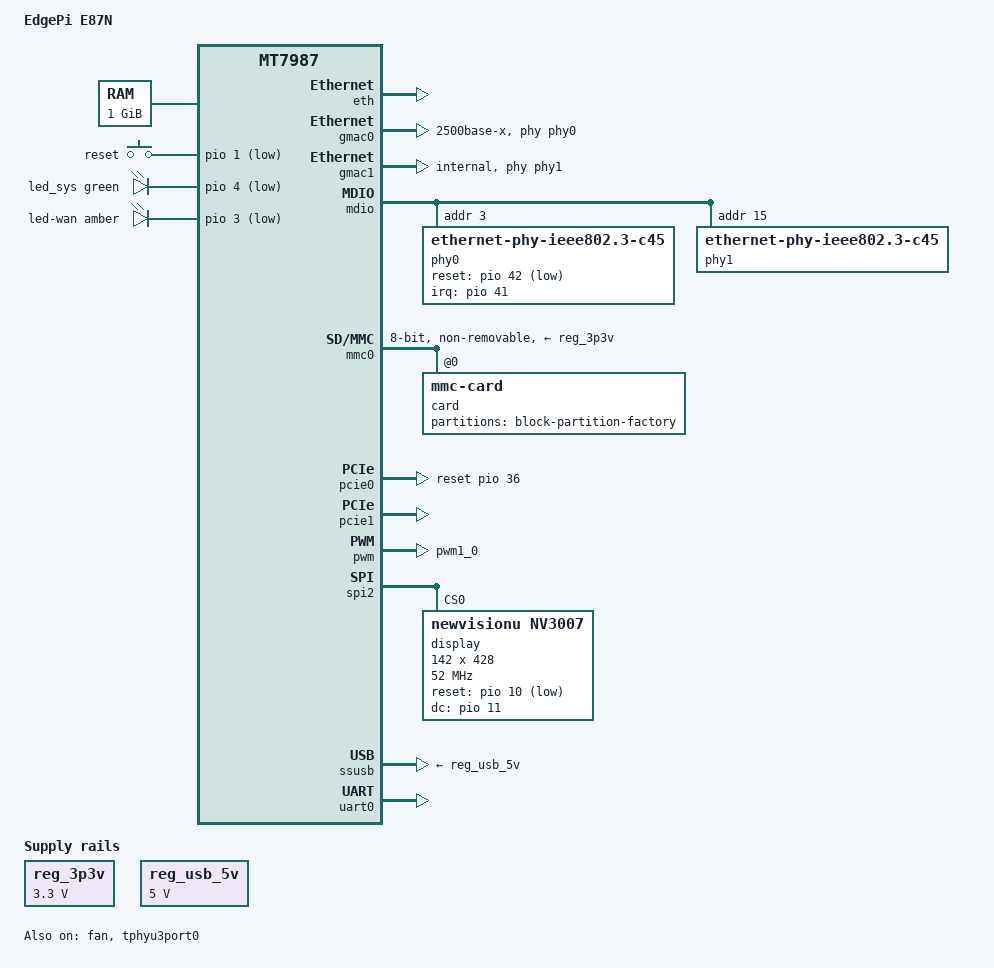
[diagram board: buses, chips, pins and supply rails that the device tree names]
// SPDX-License-Identifier: (GPL-2.0 OR MIT)
/*
 * EdgePi E87N (MT7987A), eMMC boot.
 *
 * Ported to official immortalwrt master (Linux 6.18).
 * Baseline: the official mt7987a-hiveton-h5000m.dts, which shares this board's
 * gpio layout (reset pio1, LED pio3/pio4, fan on pwm1) and eMMC boot
 * scheme. Board-specific values taken from the EN87 vendor tree.
 *
 * The E87N has no wireless hardware. Both PCIe controllers carry one M.2 NVMe
 * 2230 slot each, so pcie0 and pcie1 are both enabled; no wireless package is
 * selected.
 *
 * Board-level nodes are enabled here (uart0, pwm, ssusb, pcie, spi2) because
 * official mt7987a.dtsi only turns on boottrap/infra_bus_prot/lvts/trng/watchdog,
 * unlike the EN87 tree which enables them at chip level.
 */

/dts-v1/;
#include "mt7987a.dtsi"
#include <dt-bindings/input/input.h>
#include <dt-bindings/leds/common.h>

/ {
	model = "EdgePi E87N";
	compatible = "edgepi,e87n", "mediatek,mt7987a", "mediatek,mt7987";

	/*
	 * 1 GiB DDR4. mt7987a.dtsi carries a "memory" node without a device_type
	 * property, which the kernel's memory scan ignores, so this node is what
	 * actually takes effect. Same pattern as every official mt7987 board
	 * with 1 GiB (glinet-gl-be10000, routerich-be7200, smartrg-mt-rainier).
	 */
	memory@40000000 {
		device_type = "memory";
		reg = <0 0x40000000 0 0x40000000>;
	};

	aliases {
		led-boot = &led_sys;
		led-failsafe = &led_sys;
		led-running = &led_sys;
		led-upgrade = &led_sys;
		serial0 = &uart0;
	};

	chosen {
		bootargs = "console=ttyS0,115200n1 root=PARTLABEL=rootfs rootwait rootfstype=squashfs,f2fs";
		stdout-path = "serial0:115200n8";
	};

	gpio-keys {
		compatible = "gpio-keys";

		button-reset {
			label = "reset";
			linux,code = <KEY_RESTART>;
			gpios = <&pio 1 GPIO_ACTIVE_LOW>;
			debounce-interval = <10>;
		};
	};

	leds {
		compatible = "gpio-leds";

		/*
		 * Green, pio 4. Carries the led-boot/led-running/led-failsafe/
		 * led-upgrade aliases below.
		 *
		 * The board has a third LED that lights as soon as power is
		 * applied and is not described by any of the DTS sources this port
		 * was derived from (vendor u-boot, EN87, istoreos all define only
		 * pio 3 and pio 4). It acts as the hardware power indicator, so no
		 * software LED_FUNCTION_POWER is defined here.
		 */
		led_sys: led-sys {
			function = LED_FUNCTION_STATUS;
			color = <LED_COLOR_ID_GREEN>;
			gpios = <&pio 4 GPIO_ACTIVE_LOW>;
		};

		/* Amber, pio 3. Assigned the WAN role. */
		led-wan {
			function = LED_FUNCTION_WAN;
			color = <LED_COLOR_ID_AMBER>;
			gpios = <&pio 3 GPIO_ACTIVE_LOW>;
		};
	};

	reg_3p3v: regulator-3p3v {
		compatible = "regulator-fixed";
		regulator-name = "fixed-3.3V";
		regulator-min-microvolt = <3300000>;
		regulator-max-microvolt = <3300000>;
		regulator-boot-on;
		regulator-always-on;
	};

	reg_usb_5v: regulator-usb-5v {
		compatible = "regulator-fixed";
		regulator-name = "usb-5v";
		regulator-min-microvolt = <5000000>;
		regulator-max-microvolt = <5000000>;
		regulator-boot-on;
		regulator-always-on;
	};

	/*
	 * The panel backlight has no node here on purpose. It is GPIO524, driven
	 * from userspace by the e87n-screen package. A pwm-backlight node takes
	 * that pin (PCM_MCK_I2S_MCLK / pwm2_0), which leaves the panel dark and
	 * the GPIO unexportable. PWM2 therefore stays unmuxed.
	 */
};

&eth {
	status = "okay";
};

/*
 * Fan. Two things are set here, and one is deliberately left alone.
 *
 * cooling-levels: mt7987a.dtsi ships <0 128 192 255>. E87N's blower is a
 * small fan whose useful range starts around PWM 100 - below that it hums
 * without turning - so the array becomes <0 110 175 255>. The cooling-maps in
 * the same .dtsi reference levels by index (<&fan 1 1>, <&fan 2 2>,
 * <&fan 3 3>), and that mapping is unchanged: index 1/2/3 now mean 110/175/255.
 *
 * trips: overridden below. The stock curve brings the fan up at 40 degC and
 * only reaches full speed at 115 degC, which is far too late - a router that
 * idles in the low 50s would sit one step from full speed for its whole life,
 * and 115 degC is already close to the SoC's 125 degC critical trip. The curve
 * below starts at 52 degC, steps at 68 degC and is at full speed by 80 degC,
 * with 4-5 degC of hysteresis so the fan does not hunt around a step.
 *
 * NOT overridden: the critical trip stays at the 125 degC value in
 * mt7987a.dtsi. That is the last line of defence and is a property of the SoC
 * rather than of this board; lowering it only makes an orderly shutdown more
 * likely, it does not make the board cooler.
 *
 * The vendor tree's 25-step curve is not used: it only makes sense alongside
 * its fancontrol daemon, which drives pwm1 directly and bypasses the thermal
 * zone entirely. Nothing in userspace touches pwm1 on this port.
 */
&fan {
	cooling-levels = <0 110 175 255>;
	pwms = <&pwm 1 50000 0>;
	status = "okay";
};

/*
 * Fan speed steps. The cooling-maps in mt7987a.dtsi already wire these three
 * trips to fan levels 1, 2 and 3 in that order, so only the thresholds move.
 *
 *   <= 52 degC  level 0 (0)    fan stopped
 *     52 degC    level 1 (110)  low, just above the fan's start-up voltage
 *     68 degC    level 2 (175)  sustained high load
 *     80 degC    level 3 (255)  full speed
 */
&cpu_trip_active_low {
	temperature = <52000>;
	hysteresis = <4000>;
};

&cpu_trip_active_med {
	temperature = <68000>;
	hysteresis = <5000>;
};

&cpu_trip_active_high {
	temperature = <80000>;
	hysteresis = <5000>;
};

&gmac0 {
	phy-mode = "2500base-x";
	phy-handle = <&phy0>;
	status = "okay";
};

&gmac1 {
	phy-mode = "internal";
	phy-handle = <&phy1>;
	status = "okay";
};

&mdio {
	/*
	 * RTL8221B-VB-CG 2.5Gbps PHY, eth0.
	 * NOTE: E87N wires this PHY at MDIO address 3, not the h5000m value of 1.
	 */
	phy0: phy@3 {
		compatible = "ethernet-phy-ieee802.3-c45";
		reg = <3>;
		reset-gpios = <&pio 42 GPIO_ACTIVE_LOW>;
		reset-assert-us = <100000>;
		reset-deassert-us = <100000>;
		interrupt-parent = <&pio>;
		interrupts = <41 IRQ_TYPE_LEVEL_LOW>;
		realtek,aldps-enable;
	};

	/* built-in 2.5G Ethernet PHY, eth1 */
	phy1: phy@15 {
		compatible = "ethernet-phy-ieee802.3-c45";
		reg = <15>;
		pinctrl-names = "i2p5gbe-led";
		pinctrl-0 = <&i2p5gbe_led0_pins>;
	};
};

&mmc0 {
	pinctrl-names = "default", "state_uhs";
	pinctrl-0 = <&mmc_pins_default>;
	pinctrl-1 = <&mmc_pins_uhs>;
	bus-width = <8>;
	max-frequency = <48000000>;
	cap-mmc-highspeed;
	vmmc-supply = <&reg_3p3v>;
	non-removable;
	status = "okay";

	card@0 {
		compatible = "mmc-card";
		reg = <0>;

		block {
			compatible = "block-device";

			partitions {
				block-partition-factory {
					partname = "factory";

					nvmem-layout {
						compatible = "fixed-layout";
						#address-cells = <1>;
						#size-cells = <1>;

						eeprom_factory_0: eeprom@0 {
							reg = <0x0 0x1000>;
						};
					};
				};
			};
		};
	};
};

/*
 * Two M.2 NVMe 2230 slots, one per controller. No reset-gpios on either: the
 * only button on the board is the system reset key, which is wired to the SoC
 * and used for factory reset / u-boot menu, not for the SSDs.
 *
 * Note the vendor u-boot tree (bl-mt798x-dhcpd) enables pcie0 only, because
 * the bootloader has no need for the second slot. That is a bootloader choice,
 * not a hardware restriction.
 */
&pcie0 {
	pinctrl-names = "default";
	pinctrl-0 = <&pcie0_pins>;
	/* E87N wires PCIe PERST# to pio 36, active high. Same pin as the
	 * official mt7987a-hiveton-h5000m (sister board) and as the istoreos
	 * E87N port. Without it both controllers never leave detect.quiet. */
	reset-gpios = <&pio 36 GPIO_ACTIVE_HIGH>;
	status = "okay";
};

&pcie1 {
	pinctrl-names = "default";
	pinctrl-0 = <&pcie1_pins>;
	status = "okay";
};

&pio {
	pwm_fan_pins: pwm-fan-pins {
		mux {
			function = "pwm";
			groups = "pwm1_0";
		};
	};
};

&pwm {
	status = "okay";
	pinctrl-names = "default";
	pinctrl-0 = <&pwm_fan_pins>;
};

/*
 * NV3007 142x428 SPI panel on spi2, which comes up as /dev/fb0 through the
 * fbtft driver added by the patch in target/linux/mediatek/patches-6.18/.
 *
 * spi2 is disabled in mt7987a.dtsi. E87N boots from eMMC, so the controller is
 * free. The panel needs only CLK/MOSI/CS; spi2_flash_pins is the group the
 * known-good OEM DTB uses, so it is reused here.
 *
 * Backlight is not described here - see the comment near the top of the file.
 * GPIO524 is driven from userspace by e87n-screen.
 */
&spi2 {
	pinctrl-names = "default";
	pinctrl-0 = <&spi2_flash_pins>;
	status = "okay";
	#address-cells = <1>;
	#size-cells = <0>;

	display@0 {
		compatible = "newvisionu,nv3007";
		reg = <0>;
		regwidth = <8>;
		buswidth = <8>;
		width = <142>;
		height = <428>;
		fps = <100>;
		rotate = <270>;
		reset-gpios = <&pio 10 GPIO_ACTIVE_LOW>;
		dc-gpios = <&pio 11 GPIO_ACTIVE_HIGH>;
		spi-max-frequency = <52000000>;
		status = "okay";
	};
};

&ssusb {
	status = "okay";
	vusb33-supply = <&reg_3p3v>;
	vbus-supply = <&reg_usb_5v>;
};

&tphyu3port0 {
	status = "okay";
};

&uart0 {
	pinctrl-names = "default";
	pinctrl-0 = <&uart0_pins>;
	status = "okay";
};
